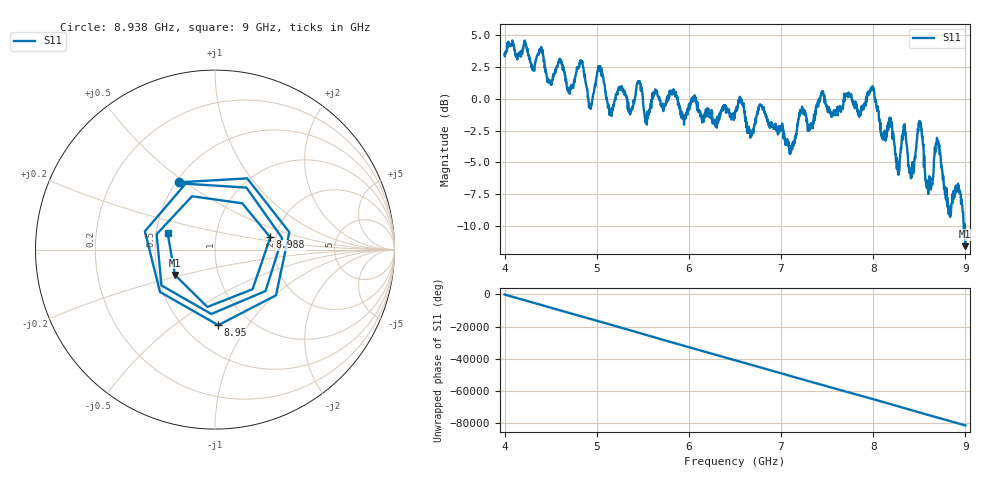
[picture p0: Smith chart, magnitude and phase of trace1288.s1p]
! Created with skrf 1.8.0 (http://scikit-rf.org).
# Hz S RI R 50.0
!freq ReS11 ImS11
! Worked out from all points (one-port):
!   1601 points, 4 GHz to 9 GHz, reference 50 ohm
!   lowest |S11| = -11.6 dB at 8.997 GHz (marker M1), VSWR 1.72, Z = 30.7 - j9.3 ohm
!   |S11| at or under -10 dB: 8.981875 GHz to 8.993002 GHz (11.13 MHz wide, 0.124 % of centre); 8.994287 GHz to end of sweep
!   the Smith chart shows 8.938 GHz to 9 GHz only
!   S11 on the Smith chart (normalised r, x): 8.938 GHz: 0.52, +0.47; 8.95 GHz: 0.72, -0.74; 8.988 GHz: 1.86, +0.28; 9 GHz: 0.57, +0.11
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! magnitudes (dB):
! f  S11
! 4 GHz  3.5
! 4.625 GHz  2.6
! 4.703 GHz  0.5
! 4.838 GHz  2.9
! 4.928 GHz  -0.5
! 5.025 GHz  2.5
! 5.147 GHz  -0.9
! 5.25 GHz  0.9
! 5.541 GHz  -1.8
! 5.875 GHz  0.1
! 6.5 GHz  -1.1
! 7.125 GHz  -3.5
! 7.222 GHz  -0.9
! 7.75 GHz  0.1
! 7.988 GHz  0.9
! 8.262 GHz  -5.3
! 8.331 GHz  -2.1
! 8.375 GHz  -4.3
! 8.419 GHz  -5.4
! 8.509 GHz  -2.1
! 8.6 GHz  -6.6
! 8.694 GHz  -3.1
! 8.822 GHz  -8.8
! 8.938 GHz  -7.4
! 8.95 GHz  -7.5
! 8.988 GHz  -10.0
! 8.997 GHz  -11.6
! 9 GHz  -11.1
